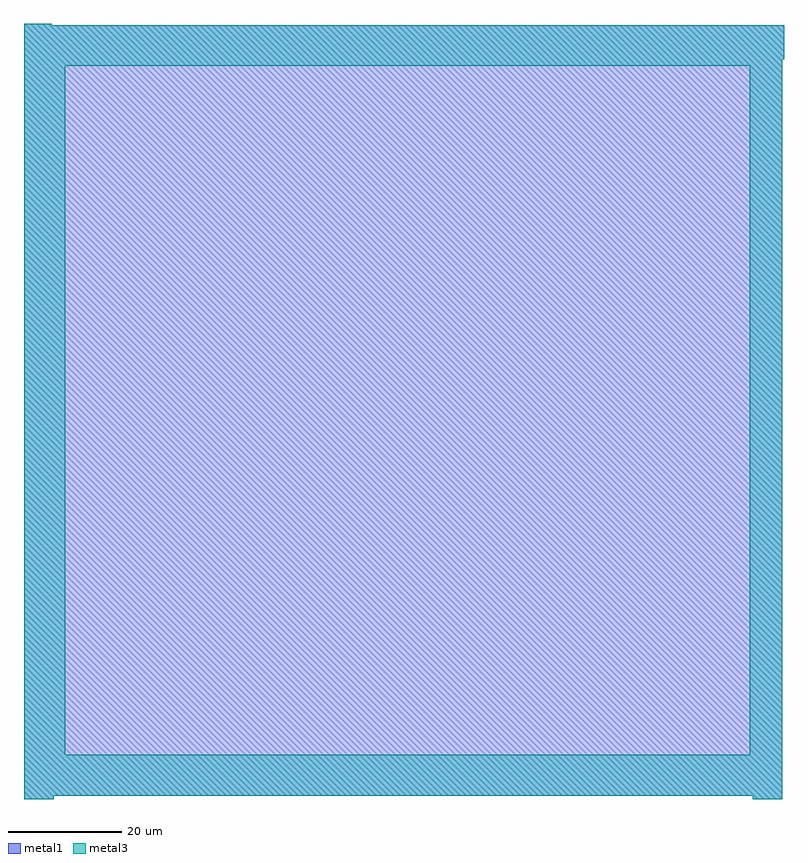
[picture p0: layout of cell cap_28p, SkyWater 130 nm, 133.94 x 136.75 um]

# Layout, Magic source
magic
tech sky130A
<< metal1 >>
rect -984 12417 -496 12449
rect -984 11818 12410 12417
rect -984 -1163 12375 11818
rect -984 -1226 -464 -1163
rect 11855 -1226 12375 -1163
<< metal3 >>
rect -984 12417 -496 12449
rect -984 11818 12410 12417
rect -984 11706 12375 11818
rect -984 -442 -260 11706
rect 11803 -442 12375 11706
rect -984 -1163 12375 -442
rect -984 -1226 -464 -1163
rect 11855 -1226 12375 -1163
<< end >>
